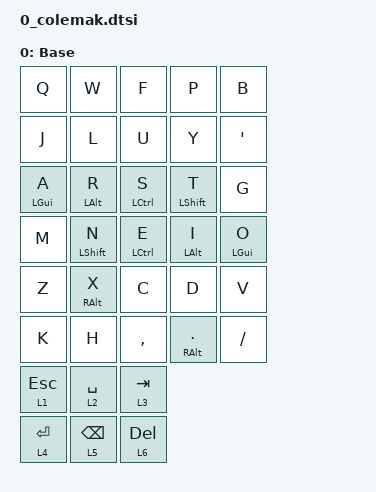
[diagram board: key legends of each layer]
/ {
	keymap {
        compatible = "zmk,keymap";
		BASE_LAYER {
			label = "Base";
			bindings = <
            // TOP ROW - keys 0 to 9
                &kp Q       &kp W       &kp F       &kp P       &kp B
                &kp J       &kp L       &kp U       &kp Y       &kp SQT 

            // MIDDLE ROW - keys 10 to 19
                &hm LGUI A  &hm LALT R  &hm LCTL S  &hm LSHFT T &kp G
                &kp M       &hm LSHFT N &hm LCTL E  &hm LALT I  &hm LGUI O 

            // BOTTOM ROW - keys 20 to 29
                &kp Z       &hm RALT X  &kp C       &kp D       &kp V
                &kp K       &kp H       &kp COMMA   &hm RALT DOT &kp FSLH 

            // THUMB ROW - keys 30 to 36
                &lt 1 ESC   &lt 2 SPACE &lt 3 TAB
                &lt 4 RET   &lt 5 BSPC  &lt 6 DEL
			>;
		};	
	};
};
